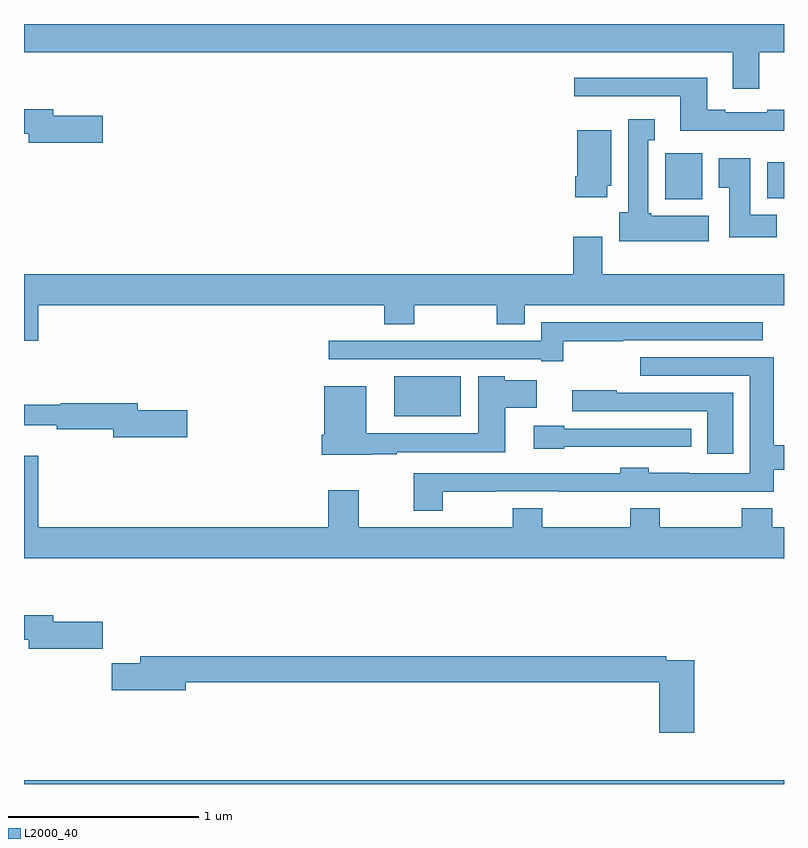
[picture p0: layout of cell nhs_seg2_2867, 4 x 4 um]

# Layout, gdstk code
import gdstk
lib = gdstk.Library(unit=1e-6, precision=1e-09)
def R(c, l, rs):  # rectangles x0, y0, x1, y1
    for r in rs: c.add(gdstk.rectangle(r[:2], r[2:], *l))
def P(c, l, *ps):  # polygons
    for p in ps: c.add(gdstk.Polygon(p, *l))
L2000_40 = (2000, 40)

nhs_seg2_2867 = lib.new_cell('nhs_seg2_2867')
R(nhs_seg2_2867, L2000_40, [(261,627.8,265,627.82), (262.949,629.735,263.299,629.947), (264.374,630.878,264.571,631.12), (264.911,630.884,265,631.072)])
P(nhs_seg2_2867, L2000_40, [(264.871,631.652),(265,631.652),(265,631.8),(261,631.8),(261,631.652),(264.731,631.652),(264.731,631.458),(264.871,631.458)],
  [(265,631.348),(264.911,631.348),(264.911,631.335),(264.691,631.335),(264.691,631.348),(264.595,631.348),(264.595,631.516),(263.895,631.516),(263.895,631.419),(264.455,631.419),(264.455,631.238),(265,631.238)],
  [(261.415,631.317),(261.154,631.317),(261.154,631.351),(261,631.351),(261,631.222),(261.026,631.222),(261.026,631.175),(261.415,631.175)],
  [(264.604,630.79),(264.3,630.79),(264.3,630.804),(264.286,630.804),(264.286,631.187),(264.319,631.187),(264.319,631.3),(264.179,631.3),(264.179,630.81),(264.134,630.81),(264.134,630.656),(264.604,630.656)],
  [(264.07,630.948),(264.091,630.948),(264.091,631.24),(263.912,631.24),(263.912,631),(263.9,631),(263.9,630.888),(264.07,630.888)],
  [(264.962,630.796),(264.823,630.796),(264.823,631.093),(264.656,631.093),(264.656,630.937),(264.713,630.937),(264.713,630.678),(264.962,630.678)],
  [(261.076,630.32),(262.895,630.32),(262.895,630.221),(263.055,630.221),(263.055,630.32),(263.488,630.32),(263.488,630.221),(263.635,630.221),(263.635,630.32),(265,630.32),(265,630.484),(264.043,630.484),(264.043,630.679),(263.891,630.679),(263.891,630.484),(261,630.484),(261,630.132),(261.076,630.132)],
  [(263.837,630.13),(264.155,630.13),(264.155,630.135),(264.889,630.135),(264.889,630.231),(263.723,630.231),(263.723,630.132),(263.399,630.132),(263.399,630.134),(263.143,630.134),(263.143,630.132),(262.605,630.132),(262.605,630.035),(262.853,630.035),(262.853,630.036),(263.723,630.036),(263.723,630.024),(263.837,630.024)],
  [(263.205,629.339),(263.483,629.339),(263.483,629.34),(263.815,629.34),(263.815,629.339),(264.947,629.339),(264.947,629.454),(265,629.454),(265,629.582),(264.947,629.582),(264.947,630.045),(264.243,630.045),(264.243,629.949),(264.821,629.949),(264.821,629.436),(264.5,629.436),(264.5,629.437),(264.288,629.437),(264.288,629.464),(264.138,629.464),(264.138,629.436),(263.05,629.436),(263.05,629.238),(263.205,629.238)],
  [(262.834,629.536),(262.961,629.536),(262.961,629.546),(263.533,629.546),(263.533,629.78),(263.698,629.78),(263.698,629.926),(263.529,629.926),(263.529,629.947),(263.39,629.947),(263.39,629.647),(262.801,629.647),(262.801,629.893),(262.58,629.893),(262.58,629.638),(262.568,629.638),(262.568,629.534),(262.834,629.534)],
  [(264.733,629.859),(264.121,629.859),(264.121,629.872),(263.885,629.872),(263.885,629.763),(264.596,629.763),(264.596,629.538),(264.733,629.538)],
  [(261.859,629.768),(261.598,629.768),(261.598,629.804),(261.194,629.804),(261.194,629.797),(261,629.797),(261,629.687),(261.172,629.687),(261.172,629.668),(261.47,629.668),(261.47,629.626),(261.859,629.626)],
  [(263.844,629.574),(264.511,629.574),(264.511,629.67),(263.844,629.67),(263.844,629.685),(263.682,629.685),(263.682,629.564),(263.844,629.564)],
  [(265,629.152),(264.938,629.152),(264.938,629.251),(264.778,629.251),(264.778,629.152),(264.345,629.152),(264.345,629.251),(264.19,629.251),(264.19,629.152),(263.727,629.152),(263.727,629.251),(263.572,629.251),(263.572,629.152),(262.761,629.152),(262.761,629.347),(262.601,629.347),(262.601,629.152),(261.076,629.152),(261.076,629.527),(261,629.527),(261,628.988),(265,628.988)],
  [(261.415,628.653),(261.154,628.653),(261.154,628.687),(261,628.687),(261,628.558),(261.026,628.558),(261.026,628.511),(261.415,628.511)],
  [(264.527,628.452),(264.38,628.452),(264.38,628.472),(261.611,628.472),(261.611,628.436),(261.462,628.436),(261.462,628.294),(261.85,628.294),(261.85,628.336),(264.344,628.336),(264.344,628.071),(264.527,628.071)])

lib.write_gds('nhs_seg2_2867.gds')
